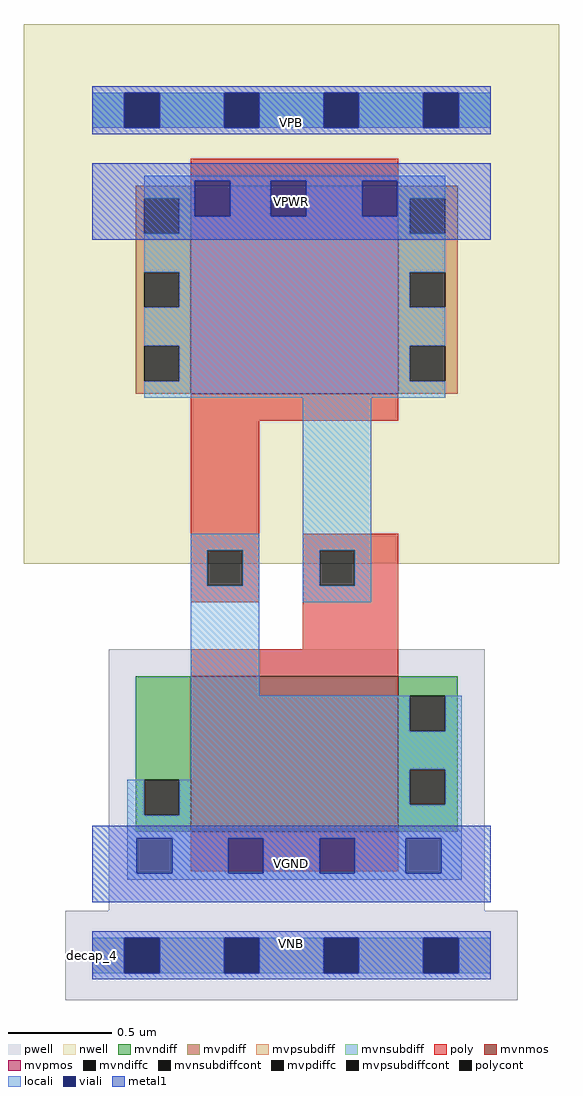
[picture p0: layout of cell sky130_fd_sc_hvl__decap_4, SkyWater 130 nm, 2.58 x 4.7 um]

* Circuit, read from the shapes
.subckt sky130_fd_sc_hvl__decap_4 VGND VNB VPB VPWR
XM1 VGND VPWR VGND VNB sky130_fd_pr__nfet_g5v0d10v5 w=0.75 l=1
XM2 VPWR VGND VPWR VPB sky130_fd_pr__pfet_g5v0d10v5 w=1 l=1
.ends

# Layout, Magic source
magic
tech sky130B
magscale 1 2
<< nwell >>
rect -66 377 450 897
<< pwell >>
rect 16 43 378 295
rect -26 -43 410 43
<< mvnmos >>
rect 95 119 295 269
<< mvpmos >>
rect 95 541 295 741
<< mvndiff >>
rect 42 169 95 269
rect 42 135 50 169
rect 84 135 95 169
rect 42 119 95 135
rect 295 250 352 269
rect 295 216 306 250
rect 340 216 352 250
rect 295 179 352 216
rect 295 145 306 179
rect 340 145 352 179
rect 295 119 352 145
<< mvpdiff >>
rect 42 729 95 741
rect 42 695 50 729
rect 84 695 95 729
rect 42 658 95 695
rect 42 624 50 658
rect 84 624 95 658
rect 42 587 95 624
rect 42 553 50 587
rect 84 553 95 587
rect 42 541 95 553
rect 295 729 352 741
rect 295 695 306 729
rect 340 695 352 729
rect 295 658 352 695
rect 295 624 306 658
rect 340 624 352 658
rect 295 587 352 624
rect 295 553 306 587
rect 340 553 352 587
rect 295 541 352 553
<< mvndiffc >>
rect 50 135 84 169
rect 306 216 340 250
rect 306 145 340 179
<< mvpdiffc >>
rect 50 695 84 729
rect 50 624 84 658
rect 50 553 84 587
rect 306 695 340 729
rect 306 624 340 658
rect 306 553 340 587
<< mvpsubdiff >>
rect 0 -17 31 17
rect 65 -17 127 17
rect 161 -17 223 17
rect 257 -17 319 17
rect 353 -17 384 17
<< mvnsubdiff >>
rect 0 797 31 831
rect 65 797 127 831
rect 161 797 223 831
rect 257 797 319 831
rect 353 797 384 831
<< mvpsubdiffcont >>
rect 31 -17 65 17
rect 127 -17 161 17
rect 223 -17 257 17
rect 319 -17 353 17
<< mvnsubdiffcont >>
rect 31 797 65 831
rect 127 797 161 831
rect 223 797 257 831
rect 319 797 353 831
<< poly >>
rect 95 741 295 767
rect 95 515 295 541
rect 95 390 161 515
rect 95 356 111 390
rect 145 356 161 390
rect 95 340 161 356
rect 203 390 295 406
rect 203 356 219 390
rect 253 356 295 390
rect 203 295 295 356
rect 95 269 295 295
rect 95 81 295 119
<< polycont >>
rect 111 356 145 390
rect 219 356 253 390
<< locali >>
rect 0 797 31 831
rect 65 797 127 831
rect 161 797 223 831
rect 257 797 319 831
rect 353 797 384 831
rect 50 746 340 751
rect 50 729 99 746
rect 84 712 99 729
rect 133 712 172 746
rect 206 712 260 746
rect 294 729 340 746
rect 294 712 306 729
rect 84 695 306 712
rect 50 658 340 695
rect 84 624 306 658
rect 50 587 340 624
rect 84 553 306 587
rect 50 537 340 553
rect 95 390 161 406
rect 95 356 111 390
rect 145 356 161 390
rect 95 250 161 356
rect 203 390 269 537
rect 203 356 219 390
rect 253 356 269 390
rect 203 340 269 356
rect 95 216 306 250
rect 340 216 356 250
rect 95 179 356 216
rect 95 169 306 179
rect 34 135 50 169
rect 84 145 306 169
rect 340 145 356 179
rect 84 135 356 145
rect 34 113 356 135
rect 34 79 43 113
rect 77 79 131 113
rect 165 79 219 113
rect 253 79 302 113
rect 336 79 356 113
rect 34 73 356 79
rect 0 -17 31 17
rect 65 -17 127 17
rect 161 -17 223 17
rect 257 -17 319 17
rect 353 -17 384 17
<< viali >>
rect 31 797 65 831
rect 127 797 161 831
rect 223 797 257 831
rect 319 797 353 831
rect 99 712 133 746
rect 172 712 206 746
rect 260 712 294 746
rect 43 79 77 113
rect 131 79 165 113
rect 219 79 253 113
rect 302 79 336 113
rect 31 -17 65 17
rect 127 -17 161 17
rect 223 -17 257 17
rect 319 -17 353 17
<< metal1 >>
rect 0 831 384 837
rect 0 797 31 831
rect 65 797 127 831
rect 161 797 223 831
rect 257 797 319 831
rect 353 797 384 831
rect 0 791 384 797
rect 0 746 384 763
rect 0 712 99 746
rect 133 712 172 746
rect 206 712 260 746
rect 294 712 384 746
rect 0 689 384 712
rect 0 113 384 125
rect 0 79 43 113
rect 77 79 131 113
rect 165 79 219 113
rect 253 79 302 113
rect 336 79 384 113
rect 0 51 384 79
rect 0 17 384 23
rect 0 -17 31 17
rect 65 -17 127 17
rect 161 -17 223 17
rect 257 -17 319 17
rect 353 -17 384 17
rect 0 -23 384 -17
<< labels >>
rlabel comment s 0 0 0 0 4 decap_4
flabel metal1 s 0 0 384 23 0 FreeSans 340 0 0 0 VNB
port 2 nsew ground bidirectional
flabel metal1 s 0 51 384 125 0 FreeSans 340 0 0 0 VGND
port 1 nsew ground bidirectional
flabel metal1 s 192 11 192 11 0 FreeSans 340 0 0 0 VNB
flabel metal1 s 0 689 384 763 0 FreeSans 340 0 0 0 VPWR
port 4 nsew power bidirectional
flabel metal1 s 0 791 384 814 0 FreeSans 340 0 0 0 VPB
port 3 nsew power bidirectional
flabel metal1 s 192 802 192 802 0 FreeSans 340 0 0 0 VPB
<< properties >>
string FIXED_BBOX 0 0 384 814
string GDS_END 959862
string GDS_FILE $PDKPATH/libs.ref/sky130_fd_sc_hvl/gds/sky130_fd_sc_hvl.gds
string GDS_START 955112
string LEFclass CORE
string LEFsite unithv
string LEFsymmetry X Y
<< end >>
